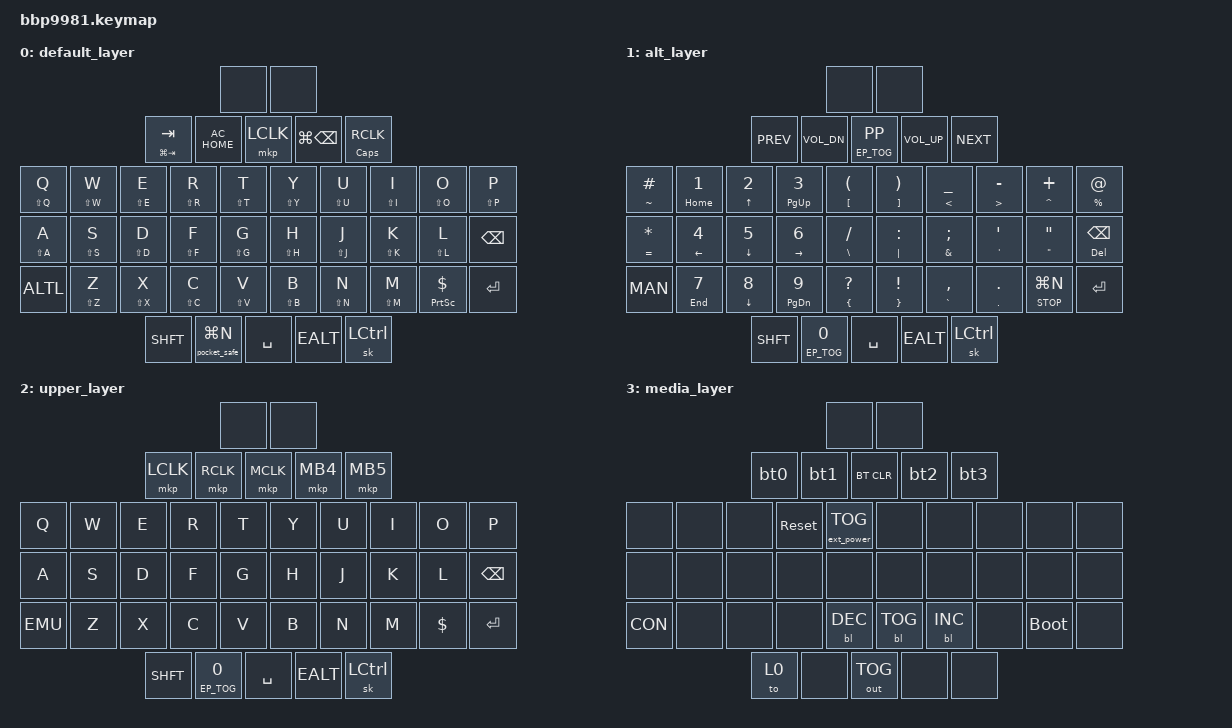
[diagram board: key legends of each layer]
/*
 * Copyright (c) 2025 ZitaoTech
 *
 * SPDX-License-Identifier: MIT
 */

#include <behaviors.dtsi>
#include <dt-bindings/zmk/keys.h>
#include <dt-bindings/zmk/bt.h>
#include <dt-bindings/zmk/outputs.h>
#include <dt-bindings/zmk/mouse.h>
#include <dt-bindings/zmk/backlight.h>
#include <dt-bindings/zmk/ext_power.h>
#include <dt-bindings/zmk/rgb.h>

#define DEFAULT 0
#define SYM 1
#define UPPER 2
#define MEDIA 3

#define SL_MO(layer) &sl_mo layer layer //tap -> sticky layer, hold -> momentary layer

#define ALT 1
#define UPPER 2
#define MEDIA 3

// Standard Behavior Configurations:

&mt {
    flavor = "tap-preferred";
    tapping-term-ms = <200>;
    };

&sk{
    release-after-ms = <2500>;
    };

&sl {
    release-after-ms = <2500>;
    };

/ {

//Behaviors Start Here:

    behaviors {

// Tap Dance Behaviors

        td0: tap_dance_0 {
            compatible = "zmk,behavior-tap-dance";
            #binding-cells = <0>;
            tapping-term-ms = <300>;
            bindings = <&mkp LCLK>, <&bt BT_CLR>;
        };

        ALTL: tap_dance_1 {
            compatible = "zmk,behavior-tap-dance";
            #binding-cells = <0>;
            tapping-term-ms = <300>;
            bindings = <&sl ALT>, <&to ALT>;
        };

        SHFT: tap_dance_2 {
            compatible = "zmk,behavior-tap-dance";
            #binding-cells = <0>;
            tapping-term-ms = <300>;
            bindings = <&sk LSHFT>, <&kp CLCK>;
        };

        MED: tap_dance_3 {
            compatible = "zmk,behavior-tap-dance";
            #binding-cells = <0>;
            tapping-term-ms = <250>;
            bindings = <&to 0>, <&to MEDIA>;
        };

        MAN: tap_dance_4 {
            compatible = "zmk,behavior-tap-dance";
            #binding-cells = <0>;
            tapping-term-ms = <250>;
            bindings = <&to 0>, <&to UPPER>;
        };

        EALT: tap_dance_5 {
            compatible = "zmk,behavior-tap-dance";
            #binding-cells = <0>;
            tapping-term-ms = <300>;
            bindings = <&sk RALT>, <&kp RALT>;
        };

        ECTRL: tap_dance_6 {
            compatible = "zmk,behavior-tap-dance";
            #binding-cells = <0>;
            tapping-term-ms = <300>;
            bindings = <&sk LCTRL>, <&kp LC(SPACE)>;
        };

        EMU: tap_dance_7 {
            compatible = "zmk,behavior-tap-dance";
            #binding-cells = <0>;
            tapping-term-ms = <250>;
            bindings = <&to 0>, <&to MEDIA>;
        };

        CON: tap_dance_8 {
            compatible = "zmk,behavior-tap-dance";
            #binding-cells = <0>;
            tapping-term-ms = <250>;
            bindings = <&to 0>, <&to 0>;
        };

// Macro Behaviors

	pocket_safe: pocket_safe {
            compatible = "zmk,behavior-macro";
            #binding-cells = <0>;
            bindings = <&kp K_PWR &ext_power EP_TOG>;
        };
		
	tap: tap {
		compatible = "zmk,behavior-macro-one-param";
     		#binding-cells = <1>;
      		bindings = <&macro_param_1to1 &kp MACRO_PLACEHOLDER>;
   	 	};

	glo: globe_pseudo_mod {
           	compatible = "zmk,behavior-macro-one-param";
            	#binding-cells = <1>;
           	 bindings
                	= <&macro_press &kp GLOBE>
                	, <&macro_param_1to1>
                	, <&macro_tap &kp MACRO_PLACEHOLDER>
                	, <&macro_release &kp GLOBE>;
        	};

        bt0: bt0 {
            compatible = "zmk,behavior-macro";
            #binding-cells = <0>;
            bindings = <&bt BT_SEL 0 &bt BT_DISC 1 &bt BT_DISC 2 &bt BT_DISC 3 &bt BT_DISC 4>;
            label = "BT0";
        };

        bt1: bt1 {
            compatible = "zmk,behavior-macro";
            #binding-cells = <0>;
            bindings = <&bt BT_SEL 1 &bt BT_DISC 0 &bt BT_DISC 2 &bt BT_DISC 3 &bt BT_DISC 4>;
            label = "BT1";
        };

        bt2: bt2 {
            compatible = "zmk,behavior-macro";
            #binding-cells = <0>;
            bindings = <&bt BT_SEL 2 &bt BT_DISC 0 &bt BT_DISC 1 &bt BT_DISC 3 &bt BT_DISC 4>;
            label = "BT2";
        };

        bt3: bt3 {
            compatible = "zmk,behavior-macro";
            #binding-cells = <0>;
            bindings = <&bt BT_SEL 3 &bt BT_DISC 0 &bt BT_DISC 1 &bt BT_DISC 2 &bt BT_DISC 4>;
            label = "BT3";
        };

// Hold Tap Behaviors

	pckt: behavior_pocket {
            compatible = "zmk,behavior-hold-tap";
            label = "Pocket";
            #binding-cells = <2>;
            flavor = "tap-preferred";
            tapping-term-ms = <400>;
            bindings = <&pocket_safe>, <&kp>;
        };

	mou_key: behavior_mk {
            compatible = "zmk,behavior-hold-tap";
            #binding-cells = <2>;
            flavor = "tap-preferred";
            tapping-term-ms = <500>;
            bindings = <&kp>, <&mkp>;
        };

        hm: homerow_mods {
            compatible = "zmk,behavior-hold-tap";
            #binding-cells = <2>;
            tapping-term-ms = <500>;
            bindings = <&out &kp>;
        };

        hm2: homerow_mods_2 {
            compatible = "zmk,behavior-hold-tap";
            #binding-cells = <2>;
            tapping-term-ms = <500>;
            bindings = <&ext_power &kp>;
        };

  	mtt: mod_tap_tap {
		compatible = "zmk,behavior-hold-tap";
		#binding-cells = <2>;
	     	flavor = "tap-preferred";
	      	tapping-term-ms = <200>;
	      	quick-tap-ms = <125>;
	      	require-prior-idle-ms = <125>;
	      	bindings = <&tap>, <&tap>;
   	 };

  	longtt: long_tap_tap {
		compatible = "zmk,behavior-hold-tap";
		#binding-cells = <2>;
	     	flavor = "tap-preferred";
	      	tapping-term-ms = <500>;
	      	quick-tap-ms = <125>;
	      	require-prior-idle-ms = <125>;
	      	bindings = <&kp>, <&kp>;
   	 };

	msk: mod_Stick_Pre {
	      compatible = "zmk,behavior-hold-tap";
	      #binding-cells = <2>;
	      flavor = "tap-preferred";
	      tapping-term-ms = <200>;
	      quick-tap-ms = <125>;
	      require-prior-idle-ms = <125>;
	      bindings = <&sk>, <&kp>;
   	 };

	alt_to: behavior_alt_to {
            compatible = "zmk,behavior-hold-tap";
            label = "alt_to";
            #binding-cells = <2>;
            flavor = "tap-preferred";
            tapping-term-ms = <300>;
            bindings = <&kp>, <&to>;
        };

	glb: mod_tap_glo {
	      compatible = "zmk,behavior-hold-tap";
	      #binding-cells = <2>;
	      flavor = "tap-preferred";
	      tapping-term-ms = <200>;
	      quick-tap-ms = <125>;
	      require-prior-idle-ms = <125>;
	      bindings = <&kp>, <&glo>;
	};

        mou: mod_mouse {
            compatible = "zmk,behavior-hold-tap";
            #binding-cells = <2>;
            flavor = "tap-preferred";
            tapping-term-ms = <200>;
            quick-tap-ms = <125>;
            require-prior-idle-ms = <125>;
            bindings = <&mkp >, <&mkp >;
        };

//End Behaviors here
    };

    keymap {
        compatible = "zmk,keymap";
        default_layer {

            bindings = <

        /*
         *    KEYBOARD LAYOUT - ASCII by KyleBing
         *
                              ---------------------                                                                -------------------------
                             |    Shoulder Key1    |                                                              |      Shoulder Key2      |
                 ---------------------------------------------------------------------------------------------------------------------------------------------------
                |        Call key        |   Blackberry Key    |              Trackpad            |             Back Key           |          Endcall Key           |
                -----------------------------------------------------------------------------------------------------------------------------------------------------
                |     Q      |     W     |     E    |     R    |         T       |       Y        |        U       |       I       |        O        |      P       |
                -----------------------------------------------------------------------------------------------------------------------------------------------------
                |     A      |     S     |     D    |     F    |         G       |       H        |        J       |       K       |        L        |      ←       |
                -----------------------------------------------------------------------------------------------------------------------------------------------------
                 \    alt    |     Z     |     X    |     C    |         V       |       B        |        N       |       M       |        $        |    Enter    /
                   -----------------------------------------------------------------------------------------------------------------------------------------------
                              \      aA        |       0        |                    SPACE                  |          SYM          |         aA    /
                                -------------------------------------------------------------------------------------------------------------------
        */
                 		&none                                                                                	&none

		        &longtt LG(TAB) TAB		&kp C_AC_HOME	      &mkp LCLK			&kp LG(BSPC)		 &mou_key CLCK RCLK

    &mtt LS(Q) Q	&mtt LS(W) W      &mtt LS(E) E	&mtt LS(R) R     &mtt LS(T) T	&mtt LS(Y) Y	&mtt LS(U) U	&mtt LS(I) I	&mtt LS(O) O	    &mtt LS(P) P
    &mtt LS(A) A	&mtt LS(S) S      &mtt LS(D) D	&mtt LS(F) F     &mtt LS(G) G	&mtt LS(H) H	&mtt LS(J) J	&mtt LS(K) K	&mtt LS(L) L        &kp BSPC
    &ALTL		&mtt LS(Z) Z      &mtt LS(X) X	&mtt LS(C) C     &mtt LS(V) V	&mtt LS(B) B	&mtt LS(N) N	&mtt LS(M) M	&mtt PSCRN DLLR     &kp ENTER

    		         &SHFT				 &pckt 0 LG(N) 	      &kp SPACE			&EALT		 &sk LCTRL

            >;
        };


        alt_layer {

            bindings = <        
                		&none                                                                           	 &none

    	         	&kp K_PREV			&kp K_VOL_DN	        &hm2 EP_TOG K_PP		&kp K_VOL_UP	&kp K_NEXT

    &mtt TILDE HASH	   	&mtt HOME N1	   &mtt UP	N2	   &mtt PG_UP   N3	   &mtt LBKT LPAR	&mtt RBKT RPAR	   &mtt LT UNDER     &mtt GT MINUS	 &mtt CARET PLUS	&mtt PERCENT AT
    &mtt EQUAL STAR		&mtt LEFT N4	   &mtt DOWN	N5	   &mtt RIGHT	N6	   &mtt BSLH SLASH	&mtt PIPE COLON	   &mtt AMPS SEMI    &mtt APOS APOS	 &mtt DQT DQT     	&mtt DEL BSPC
    &MAN	      	     	&mtt END N7	   &mtt DOWN	N8	   &mtt PG_DN	N9	   &mtt LBRC QMARK	&mtt RBRC EXCL	   &mtt GRAVE COMMA  &mtt DOT DOT	 &mtt K_STOP LG(N)	&kp ENTER
	
    		         &SHFT				 &hm2 EP_TOG N0 		&kp SPACE			&EALT				 &sk LCTRL


            >;
        };

        upper_layer {

            bindings = <      

		&none													&none
 
    		&mkp LCLK			&mkp RCLK			&mkp MCLK				&mkp MB4				&mkp MB5  

    &kp Q		&kp W     	&kp E    	&kp R	  	  	&kp T			&kp Y		&kp U	    	&kp I	 	 &kp O		&kp P
    &kp A	     	&kp S   	&kp D      	&kp F	 		&kp G		     	&kp H	      	&kp J       	&kp K       	 &kp L		&kp BSPC
    &EMU	 	&kp Z     	&kp X     	&kp C    		&kp V	     		&kp B		&kp N        	&kp M       	 &kp DLLR	&kp ENTER
	
    		&SHFT				 &hm2 EP_TOG N0			&kp SPACE				&EALT				&sk LCTRL
            >;
        };

        media_layer {

            bindings = <        

		&none													&none

    		&bt0            	 &bt1                 &bt BT_CLR                &bt2             &bt3

    &none       	&none   	&none     	&sys_reset	&ext_power EP_TOG	   &none         	&none	           &none           &none      	   &none
    &none   		&none	  	&none	 	&none     	&none	          	   &none     	 	&none	           &none	   &none      	   &none
    &CON  		&none    	&none    	&none		&bl BL_DEC       	   &bl BL_TOG   	&bl BL_INC         &none           &bootloader     &none

    		&to  0               		 &none	               	      &out OUT_TOG              &none                    &none
            >;
        };
    };
};
